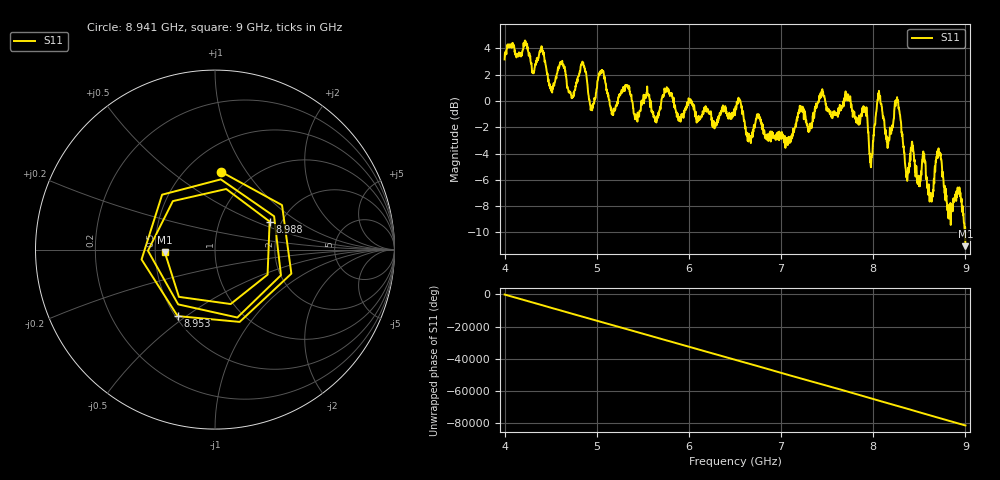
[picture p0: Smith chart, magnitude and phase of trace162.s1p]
! Created with skrf 1.8.0 (http://scikit-rf.org).
# Hz S RI R 50.0
!freq ReS11 ImS11
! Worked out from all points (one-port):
!   1601 points, 4 GHz to 9 GHz, reference 50 ohm
!   lowest |S11| = -11.0 dB at 9 GHz (marker M1), VSWR 1.78, Z = 28.1 - j0.811 ohm
!   |S11| at or under -10 dB: 8.993786 GHz to 8.994124 GHz (337.5 kHz wide, 0.00375 % of centre); 8.997838 GHz to end of sweep
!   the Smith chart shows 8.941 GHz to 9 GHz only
!   S11 on the Smith chart (normalised r, x): 8.941 GHz: 0.72, +0.77; 8.953 GHz: 0.51, -0.46; 8.988 GHz: 1.74, +0.62; 9 GHz: 0.56, -0.02
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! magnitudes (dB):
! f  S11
! 4 GHz  3.2
! 4.403 GHz  4.1
! 4.506 GHz  0.9
! 4.625 GHz  3.0
! 4.728 GHz  0.2
! 4.853 GHz  2.9
! 4.947 GHz  -0.6
! 5.047 GHz  2.3
! 5.169 GHz  -0.9
! 5.25 GHz  0.5
! 5.875 GHz  -1.1
! 6.5 GHz  -1.1
! 7.125 GHz  -2.5
! 7.75 GHz  0.3
! 7.912 GHz  -0.9
! 7.975 GHz  -5.0
! 8.056 GHz  0.6
! 8.153 GHz  -3.1
! 8.259 GHz  0.3
! 8.375 GHz  -5.5
! 8.55 GHz  -4.2
! 8.628 GHz  -7.5
! 8.709 GHz  -3.6
! 8.822 GHz  -8.3
! 8.941 GHz  -7.2
! 8.953 GHz  -7.4
! 8.988 GHz  -9.3
! 9 GHz  -11.0
